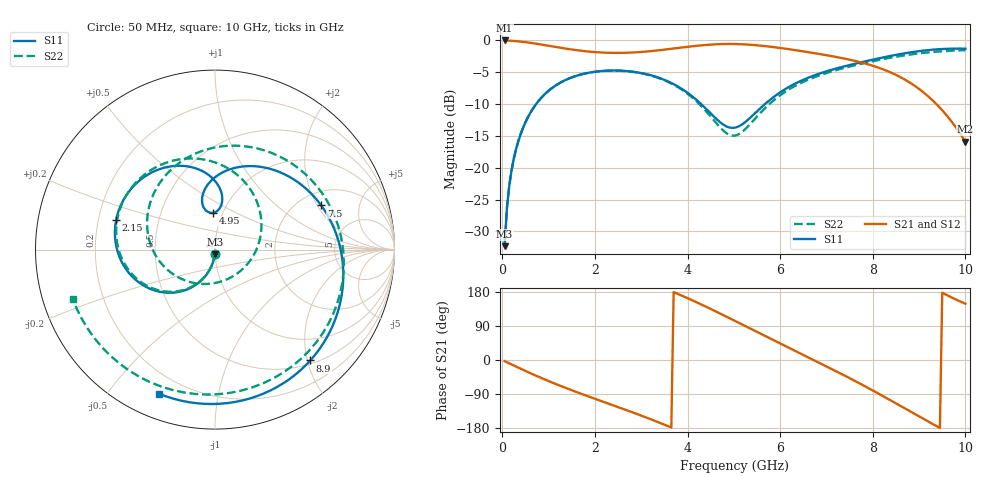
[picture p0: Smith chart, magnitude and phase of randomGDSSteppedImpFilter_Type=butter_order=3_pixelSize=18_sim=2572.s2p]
! freq	dB(S11)	phase(S11)	dB(S12)	phase(S12)
!  dB(S21)	phase(S21)	dB(S22)	phase(S22)
!S-par simulation data
#  GHz  S  DB  R 50
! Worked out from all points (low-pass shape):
!   200 points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, 50 MHz to 10 GHz, reference 50 ohm
!   highest |S21| = -0.01 dB at 50 MHz (marker M1); lowest = -15.9 dB at 10 GHz (marker M2)
!   |S21| within 3 dB of the highest: start of sweep to 7.485 GHz
!   lowest |S11| = -32.3 dB at 50 MHz (marker M3), VSWR 1.05, Z = 49.8 - j2.41 ohm
!   |S11| at or under -10 dB: start of sweep to 731.5 MHz; 4.294 GHz to 5.673 GHz (1.379 GHz wide, 27.7 % of centre)
!   |S22| runs from -32.3 to -1.5 dB; largest |S21 - S12| = 0
!   S11 on the Smith chart (normalised r, x): 50 MHz: 1.00, -0.05; 2.15 GHz: 0.28, +0.14; 4.95 GHz: 0.90, +0.39; 7.5 GHz: 2.59, +2.17; 8.9 GHz: 0.56, -2.05; 10 GHz: 0.11, -0.68
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0.05  -32.33 -93.1  -0.01 -3.0  -0.01 -3.0  -32.33 -93.2
0.1  -26.33 -96.2  -0.02 -5.9  -0.02 -5.9  -26.33 -96.3
0.2  -20.40 -102.2  -0.06 -11.7  -0.06 -11.7  -20.40 -102.5
0.5  -12.86 -119.1  -0.27 -28.9  -0.27 -28.9  -12.87 -119.8
1.1  -7.34 -150.2  -0.96 -60.6  -0.96 -60.6  -7.34 -152.0
1.75  -5.26 180.0  -1.66 -91.2  -1.66 -91.2  -5.26 176.5
2.15  -4.80 163.1  -1.90 -108.9  -1.90 -108.9  -4.81 158.1
2.85  -4.95 134.6  -1.89 -139.9  -1.89 -139.9  -4.97 125.1
3.4  -5.92 112.6  -1.54 -165.7  -1.54 -165.7  -5.97 96.1
4.2  -9.38 85.3  -0.85 152.1  -0.85 152.1  -9.62 41.0
4.95  -13.74 93.2  -0.56 107.7  -0.56 107.7  -14.94 -56.7
5.05  -13.66 97.5  -0.57 101.6  -0.57 101.6  -14.91 -74.7
5.5  -11.14 105.0  -0.77 74.0  -0.77 74.0  -11.96 -140.9
5.95  -8.41 94.0  -1.14 46.6  -1.14 46.6  -8.89 175.8
6.7  -5.60 61.6  -1.95 1.5  -1.95 1.5  -5.89 119.0
7.1  -4.64 42.3  -2.45 -22.9  -2.45 -22.9  -4.89 90.0
7.5  -3.87 22.6  -3.03 -47.8  -3.03 -47.8  -4.10 59.8
8  -3.02 -2.4  -3.98 -80.4  -3.98 -80.4  -3.27 19.5
8.35  -2.48 -20.2  -4.92 -104.0  -4.92 -104.0  -2.76 -10.7
8.9  -1.78 -49.3  -7.11 -142.1  -7.11 -142.1  -2.12 -60.7
9.4  -1.39 -76.9  -10.19 -176.0  -10.19 -176.0  -1.75 -107.0
10  -1.30 -111.4  -15.92 148.5  -15.92 148.5  -1.53 -161.0
